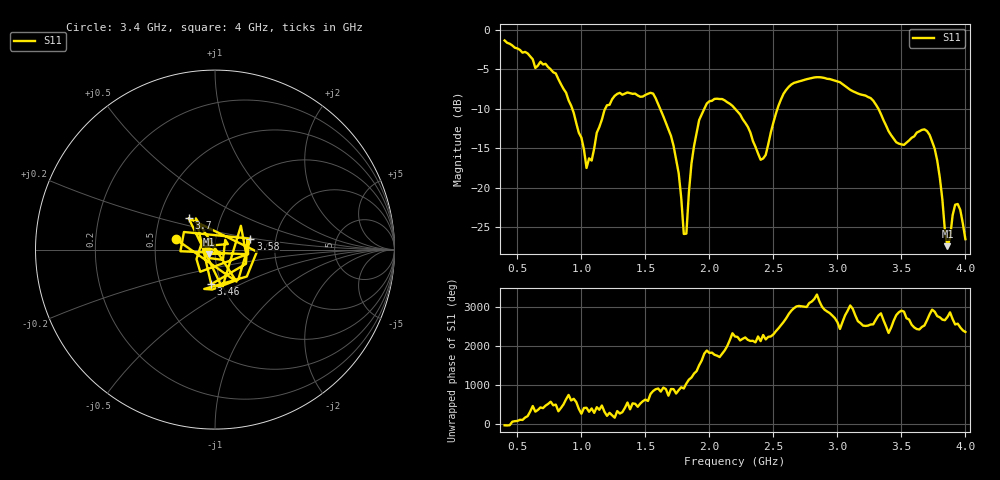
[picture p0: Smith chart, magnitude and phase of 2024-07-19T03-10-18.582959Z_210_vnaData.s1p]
!Created with skrf (http://scikit-rf.org).
# Hz S RI R 50.0
!freq ReS11 ImS11
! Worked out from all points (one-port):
!   181 points, 400 MHz to 4 GHz, reference 50 ohm
!   lowest |S11| = -27.4 dB at 3.86 GHz (marker M1), VSWR 1.09, Z = 46.6 - j2.3 ohm
!   |S11| at or under -10 dB: 1.615 GHz to 1.961 GHz (345.7 MHz wide, 19.3 % of centre); 2.199 GHz to 2.532 GHz (332.8 MHz wide, 14.1 % of centre); 3.32 GHz to end of sweep (the widest 3 of 4)
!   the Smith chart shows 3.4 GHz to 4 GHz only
!   S11 on the Smith chart (normalised r, x): 3.4 GHz: 0.64, +0.08; 3.46 GHz: 0.89, -0.36; 3.58 GHz: 1.48, +0.19; 3.7 GHz: 0.70, +0.26; 4 GHz: 0.91, -0.01
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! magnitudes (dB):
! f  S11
! 400 MHz  -1.4
! 860 MHz  -7.5
! 1.04 GHz  -17.5
! 1.18 GHz  -10.2
! 1.3 GHz  -8.0
! 1.56 GHz  -8.1
! 1.7 GHz  -13.5
! 1.76 GHz  -18.2
! 1.8 GHz  -25.9
! 1.82 GHz  -25.8
! 1.86 GHz  -16.9
! 1.92 GHz  -11.4
! 2.04 GHz  -8.8
! 2.2 GHz  -10.0
! 2.4 GHz  -16.5
! 2.56 GHz  -8.8
! 2.66 GHz  -6.7
! 3.1 GHz  -7.6
! 3.28 GHz  -9.0
! 3.4 GHz  -12.8
! 3.46 GHz  -14.3
! 3.56 GHz  -14.0
! 3.58 GHz  -13.7
! 3.7 GHz  -12.8
! 3.78 GHz  -16.6
! 3.86 GHz  -27.4
! 3.92 GHz  -22.2
! 4 GHz  -26.5
